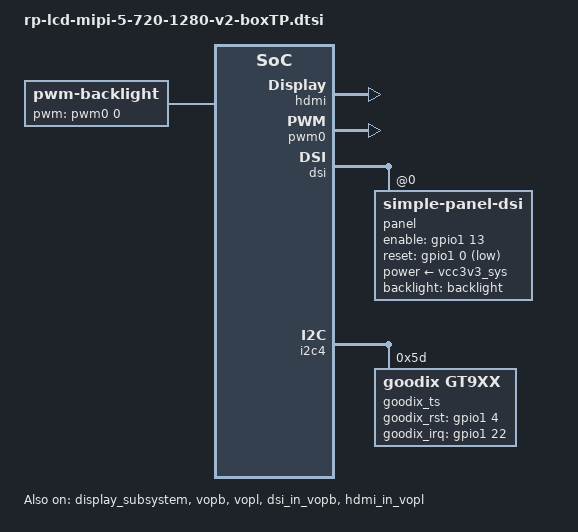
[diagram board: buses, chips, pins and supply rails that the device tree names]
/ {
	backlight: backlight {
		status = "okay";
		compatible = "pwm-backlight";
		pwms = <&pwm0 0 25000 0>;
		brightness-levels = <
			  0   1   2   3   4   5   6   7
			  8   9  10  11  12  13  14  15
			 16  17  18  19  20  21  22  23
			 24  25  26  27  28  29  30  31
			 32  33  34  35  36  37  38  39
			 40  41  42  43  44  45  46  47
			 48  49  50  51  52  53  54  55
			 56  57  58  59  60  61  62  63
			 64  65  66  67  68  69  70  71
			 72  73  74  75  76  77  78  79
			 80  81  82  83  84  85  86  87
			 88  89  90  91  92  93  94  95
			 96  97  98  99 100 101 102 103
			104 105 106 107 108 109 110 111
			112 113 114 115 116 117 118 119
			120 121 122 123 124 125 126 127
			128 129 130 131 132 133 134 135
			136 137 138 139 140 141 142 143
			144 145 146 147 148 149 150 151
			152 153 154 155 156 157 158 159
			160 161 162 163 164 165 166 167
			168 169 170 171 172 173 174 175
			176 177 178 179 180 181 182 183
			184 185 186 187 188 189 190 191
			192 193 194 195 196 197 198 199
			200 201 202 203 204 205 206 207
			208 209 210 211 212 213 214 215
			216 217 218 219 220 221 222 223
			224 225 226 227 228 229 230 231
			232 233 234 235 236 237 238 239
			240 241 242 243 244 245 246 247
			248 249 250 251 252 253 254 255>;
		default-brightness-level = <255>;
	};

	//bill  
        rpdzkj_config {
                compatible = "rp_config";
                user_version = "rpdzkj";
                system_rotate = "270";
                back_camera_rotate = "0";
                front_camera_rotate = "0";
                lcd_density = "190";
                language = "zh-CN";   //zh-CN //en-US
                time_zone = "Asia/Shanghai"; //Asia/Shanghai = +8   //Europe/London  = +1	//Africa/Casablanca	= +0;
                not_navigation_bar = "false";
                not_status_bar = "false";
                default_launcher = "true";
                has_root = "true";  //true//false
                usb_not_permission = "true";  
                usb_camera_only_front = "false";
                gps_use = "false";
                /* 
                 * UART*, please check board
                 * whether have this uart,
                 * otherwish system may not run
                 */
                gps_serial_port = "/dev/ttyS4"; 
				primary_device = "DSI";
				extend_device = "HDMI-A";
				extend_rotate = "0";
                rotation_efull = "true";
                home_apk = "null";
                
                status = "okay";
        };
};


&hdmi {
	#address-cells = <1>;
	#size-cells = <0>;
	#sound-dai-cells = <0>;
	ddc-i2c-scl-high-time-ns = <9625>;
	ddc-i2c-scl-low-time-ns = <10000>;
	status = "okay";
};

&pwm0 {
	status = "okay";
};

&display_subsystem {
	status = "okay";

	ports = <&vopb_out>, <&vopl_out>;
	logo-memory-region = <&drm_logo>;

	route {
		route_hdmi: route-hdmi {
			status = "okay";
			logo,uboot = "logo.bmp";
			logo,kernel = "logo_kernel.bmp";
			logo,mode = "center";
			charge_logo,mode = "center";
			connect = <&vopl_out_hdmi>;
		};

		route_dsi: route-dsi {

			status = "okay";
			// status = "disabled";
			logo,uboot = "logo.bmp";
			logo,kernel = "logo_kernel.bmp";
			logo,mode = "center";
			charge_logo,mode = "center";
			connect = <&vopb_out_dsi>;
		};

		route_dsi1: route-dsi1 {
			status = "disabled";
			logo,uboot = "logo.bmp";
			logo,kernel = "logo_kernel.bmp";
			logo,mode = "center";
			charge_logo,mode = "center";
			connect = <&vopl_out_dsi1>;
		};

		route_edp: route-edp {
			status = "disabled";
			logo,uboot = "logo.bmp";
			logo,kernel = "logo_kernel.bmp";
			logo,mode = "center";
			charge_logo,mode = "center";
			connect = <&vopb_out_edp>;
		};
	};
};

&dsi {
        status = "okay";
//	rockchip,lane-rate = <410>;

        panel {
                 compatible ="simple-panel-dsi";
                status = "okay";
                reg = <0>;
                power-supply = <&vcc3v3_sys>;
                backlight = <&backlight>;
                cmd_later_reset = <0>;
                enable-gpios = <&gpio1 13 GPIO_ACTIVE_HIGH>;
                reset-gpios  = <&gpio1 0 GPIO_ACTIVE_LOW>;
                dsi,flags = <(MIPI_DSI_MODE_VIDEO | MIPI_DSI_MODE_VIDEO_BURST |
                // MIPI_DSI_MODE_VIDEO_SYNC_PULSE)>;
                MIPI_DSI_MODE_LPM | MIPI_DSI_MODE_EOT_PACKET)>;	/** 7inch 720x1280 must this mode */
                dsi,format = <MIPI_DSI_FMT_RGB888>;
                //		bus-format = <MEDIA_BUS_FMT_RGB666_1X24>;
                dsi,lanes = <4>;
                reset-delay-ms = <100>;
                init-delay-ms = <100>;
                enable-delay-ms = <120>;
                disable-delay-ms = <50>;
                unprepare-delay-ms = <20>;
                
                width-mm = <68>;
                height-mm = <121>;
                panel-init-sequence = [
                    //test
                    05 78 01 01
                    39 00 04 B9 F1 12 83
                    39 00 1C BA 33 81 05 F9 0E 0E 20 00 00 00 00 00 00 00 44 25 00 91 0A 00 00 02 4F D1 00 00 37
                    39 00 02 B8 26
                    39 00 04 BF 02 10 00
                    39 00 0B B3 07 0B 1E 1E 03 FF 00 00 00 00
                    39 00 0A C0 73 73 50 50 00 00 08 70 00
                    39 00 02 BC 46
                    39 00 02 CC 0B
                    39 00 02 B4 80
                    39 00 04 B2 C8 12 A0
                    39 00 0F E3 07 07 0B 0B 03 0B 00 00 00 00 FF 80 C0 10
                    39 00 0D C1 53 00 32 32 77 F1 FF FF CC CC 77 77
                    39 00 03 B5 09 09
                    39 00 03 B6 B7 B7
                    39 00 40 E9 C2 10 0A 00 00 81 80 12 30 00 37 86 81 80 37 18 00 05 00 00 00 00 00 05 00 00 00 00 F8 BA 46 02 08 28 88 88 88 88 88 F8 BA 57 13 18 38 88 88 88 88 88 00 00 00 03 00 00 00 00 00 00 00 00 00
                    39 00 3E EA 07 12 01 01 02 3C 00 00 00 00 00 00 8F BA 31 75 38 18 88 88 88 88 88 8F BA 20 64 28 08 88 88 88 88 88 23 10 00 00 04 00 00 00 00 00 00 00 00 00 00 00 00 00 00 00 00 00 00 00 00 00 00
                    39 00 23 E0 00 02 04 1A 23 3F 2C 28 05 09 0B 10 11 10 12 12 19 00 02 04 1A 23 3F 2C 28 05 09 0B 10 11 10 12 12 19
                    05 ff 01 11 ////Sleep Out
                    05 32 01 29 ///Display On
                ];

                panel-exit-sequence = [
                        05 78 01 28
                        05 78 01 10
                ];

                display-timings {
                        native-mode = <&timing0>;
                        timing0: timing0 {
                                clock-frequency = <60000000>;
                                hactive = <720>;
                                vactive = <1280>;
                                hback-porch = <40>;
                                hfront-porch = <40>;
                                vback-porch = <11>;
                                vfront-porch = <16>;
                                hsync-len = <10>;
                                vsync-len = <3>;
                                hsync-active = <0>;
                                vsync-active = <0>;
                                de-active = <0>;
                                pixelclk-active = <0>;
                        };

                };
        };
};

&route_dsi {
	status = "okay";
};


&vopb {
        assigned-clocks = <&cru DCLK_VOP0_DIV>;
        assigned-clock-parents = <&cru PLL_CPLL>;
        //assigned-clock-parents = <&cru PLL_VPLL>;
        status = "okay";
};

&vopb_mmu {
        status = "okay";
};

&vopl {
        assigned-clocks = <&cru DCLK_VOP1_DIV>;
        assigned-clock-parents = <&cru PLL_VPLL>;
        //assigned-clock-parents = <&cru PLL_CPLL>;
        status = "okay";
};

&vopl_mmu {
        status = "okay";
};

&dsi_in_vopl {
        status = "disabled";
};

&dsi_in_vopb { 
        status = "okay"; 
}; 
 
&hdmi_in_vopb {
        status = "disabled";
};

&hdmi_in_vopl { 
        status = "okay"; 
}; 
 

&edp_in_vopb { 
        status = "disabled"; 
}; 
&edp_in_vopl { 
        status = "disabled"; 
}; 

&dsi1_in_vopb { 
        status = "disabled"; 
}; 
&dsi1_in_vopl { 
        status = "disabled"; 
}; 
&i2c4 {
        status = "okay";
	goodix_ts@5d {
		compatible = "goodix,gt9xx";
		reg = <0x5d>;
		gtp_resolution_x = <720>;
		gtp_resolution_y = <1280>;
		gtp_int_tarigger = <1>;
		gtp_change_x2y = <0>;
		gtp_overturn_x = <0>;
		gtp_overturn_y = <0>;
		gtp_send_cfg = <1>;
		gtp_touch_wakeup = <1>;
		goodix_rst_gpio = <&gpio1 4 GPIO_ACTIVE_HIGH>;
        	goodix_irq_gpio = <&gpio1 22 IRQ_TYPE_EDGE_FALLING>;
	
	        goodix,cfg-group0 = [
                    4D D0 02 00 05 05 35 00 01 08 32
                    08 5A 3C 03 05 00 00 00 00 00 00
                    00 18 1A 1E 14 89 29 0A 55 57 B5
                    06 00 00 00 41 22 10 00 01 00 0F
                    00 2A 00 00 19 50 32 3C 78 94 D5
                    02 08 00 00 04 A2 40 00 8F 4A 00
                    80 55 00 73 61 00 67 70 00 67 00
                    00 00 00 00 00 00 00 00 00 00 00
                    00 00 00 00 00 00 00 00 00 00 00
                    00 00 00 00 00 00 00 00 00 00 00
                    00 00 02 04 06 08 0A 0C 0E 10 12
                    14 FF FF FF FF FF FF FF FF FF FF
                    FF FF FF FF FF FF FF FF FF FF 22
                    21 20 1F 1E 1D 1C 18 16 00 02 04
                    06 08 0A 0F 10 12 FF FF FF FF FF
                    FF FF FF FF FF FF FF FF FF FF FF
                    FF FF FF FF FF FF FF FF 8D 01
		];
	};
};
